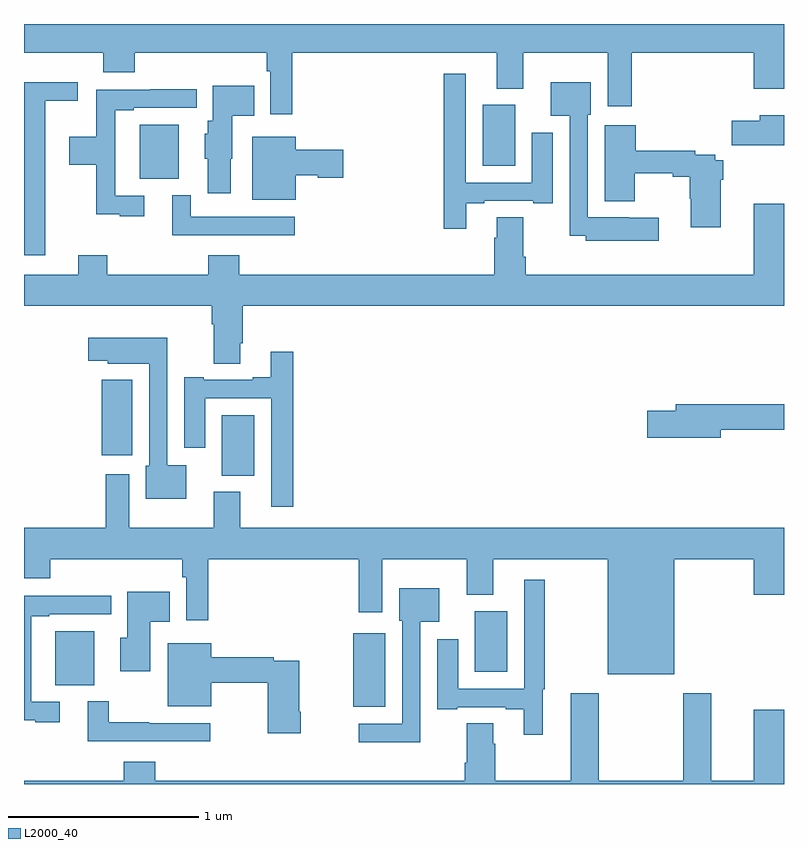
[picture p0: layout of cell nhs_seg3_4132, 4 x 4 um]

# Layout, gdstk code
import gdstk
lib = gdstk.Library(unit=1e-6, precision=1e-09)
def R(c, l, rs):  # rectangles x0, y0, x1, y1
    for r in rs: c.add(gdstk.rectangle(r[:2], r[2:], *l))
def P(c, l, *ps):  # polygons
    for p in ps: c.add(gdstk.Polygon(p, *l))
L2000_40 = (2000, 40)

nhs_seg3_4132 = lib.new_cell('nhs_seg3_4132')
R(nhs_seg3_4132, L2000_40, [(330.734,698.807,330.901,699.193), (329.165,698.921,329.371,699.205), (331.373,698.99,331.543,699.31), (330.041,700.022,330.211,700.342), (329.408,700.131,329.569,700.528), (329.609,701.585,329.815,701.869), (331.415,701.654,331.585,701.974)])
P(nhs_seg3_4132, L2000_40, [(330.413,702.248),(331.487,702.248),(331.487,702.059),(331.627,702.059),(331.627,702.248),(332.072,702.248),(332.072,701.967),(332.198,701.967),(332.198,702.248),(332.84,702.248),(332.84,702.06),(333,702.06),(333,702.4),(329,702.4),(329,702.248),(329.417,702.248),(329.417,702.146),(329.582,702.146),(329.582,702.248),(330.277,702.248),(330.277,702.152),(330.297,702.152),(330.297,701.925),(330.413,701.925)],
  [(331.327,701.457),(331.423,701.457),(331.423,701.469),(331.679,701.469),(331.679,701.457),(331.783,701.457),(331.783,701.827),(331.673,701.827),(331.673,701.565),(331.326,701.565),(331.326,702.139),(331.21,702.139),(331.21,701.322),(331.327,701.322)],
  [(329.113,701.996),(329.284,701.996),(329.284,702.094),(329,702.094),(329,701.184),(329.113,701.184)],
  [(332.341,701.38),(332.184,701.38),(332.184,701.382),(331.968,701.382),(331.968,701.922),(331.984,701.922),(331.984,702.094),(331.772,702.094),(331.772,701.918),(331.872,701.918),(331.872,701.285),(331.956,701.285),(331.956,701.258),(332.341,701.258)],
  [(330.088,701.691),(330.097,701.691),(330.097,701.918),(330.212,701.918),(330.212,702.076),(329.993,702.076),(329.993,701.892),(329.966,701.892),(329.966,701.823),(329.951,701.823),(329.951,701.691),(329.966,701.691),(329.966,701.508),(330.088,701.508)],
  [(329.632,701.496),(329.481,701.496),(329.481,701.946),(329.578,701.946),(329.578,701.958),(329.908,701.958),(329.908,702.056),(329.665,702.056),(329.665,702.054),(329.38,702.054),(329.38,701.806),(329.238,701.806),(329.238,701.659),(329.38,701.659),(329.38,701.399),(329.504,701.399),(329.504,701.388),(329.632,701.388)],
  [(333,701.92),(332.873,701.92),(332.873,701.89),(332.724,701.89),(332.724,701.761),(333,701.761)],
  [(332.668,701.579),(332.681,701.579),(332.681,701.683),(332.638,701.683),(332.638,701.712),(332.534,701.712),(332.534,701.732),(332.219,701.732),(332.219,701.866),(332.057,701.866),(332.057,701.468),(332.214,701.468),(332.214,701.614),(332.414,701.614),(332.414,701.596),(332.503,701.596),(332.503,701.481),(332.51,701.481),(332.51,701.331),(332.668,701.331)],
  [(330.43,701.603),(330.546,701.603),(330.546,701.591),(330.679,701.591),(330.679,701.738),(330.43,701.738),(330.43,701.806),(330.2,701.806),(330.2,701.474),(330.43,701.474)],
  [(330.424,701.385),(329.877,701.385),(329.877,701.5),(329.78,701.5),(329.78,701.289),(330.424,701.289)],
  [(330.139,700.72),(330.152,700.72),(330.152,700.916),(333,700.916),(333,701.455),(332.84,701.455),(332.84,701.08),(331.64,701.08),(331.64,701.176),(331.627,701.176),(331.627,701.384),(331.487,701.384),(331.487,701.276),(331.475,701.276),(331.475,701.08),(330.134,701.08),(330.134,701.182),(329.969,701.182),(329.969,701.08),(329.438,701.08),(329.438,701.182),(329.285,701.182),(329.285,701.08),(329,701.08),(329,700.916),(329.987,700.916),(329.987,700.82),(329.999,700.82),(329.999,700.612),(330.139,700.612)],
  [(329.854,700.078),(329.754,700.078),(329.754,700.75),(329.337,700.75),(329.337,700.628),(329.442,700.628),(329.442,700.613),(329.658,700.613),(329.658,700.074),(329.642,700.074),(329.642,699.902),(329.854,699.902)],
  [(330.416,700.675),(330.299,700.675),(330.299,700.54),(330.203,700.54),(330.203,700.527),(329.947,700.527),(329.947,700.54),(329.843,700.54),(329.843,700.17),(329.953,700.17),(329.953,700.431),(330.3,700.431),(330.3,699.858),(330.416,699.858)],
  [(332.668,700.264),(333,700.264),(333,700.4),(332.429,700.4),(332.429,700.364),(332.28,700.364),(332.28,700.222),(332.668,700.222)],
  [(330.139,699.937),(329.999,699.937),(329.999,699.748),(329.554,699.748),(329.554,700.03),(329.429,700.03),(329.429,699.748),(329,699.748),(329,699.482),(329.138,699.482),(329.138,699.584),(329.833,699.584),(329.833,699.488),(329.853,699.488),(329.853,699.261),(329.969,699.261),(329.969,699.584),(330.761,699.584),(330.761,699.303),(330.886,699.303),(330.886,699.584),(331.331,699.584),(331.331,699.395),(331.471,699.395),(331.471,699.584),(332.072,699.584),(332.072,698.978),(332.422,698.978),(332.422,699.584),(332.84,699.584),(332.84,699.396),(333,699.396),(333,699.748),(330.139,699.748)],
  [(331.729,698.898),(331.741,698.898),(331.741,699.475),(331.632,699.475),(331.632,698.901),(331.285,698.901),(331.285,699.163),(331.175,699.163),(331.175,698.793),(331.279,698.793),(331.279,698.805),(331.535,698.805),(331.535,698.793),(331.631,698.793),(331.631,698.658),(331.729,698.658)],
  [(331.086,699.254),(331.186,699.254),(331.186,699.43),(330.974,699.43),(330.974,699.258),(330.99,699.258),(330.99,698.718),(330.762,698.718),(330.762,698.621),(331.086,698.621)],
  [(329.665,699.254),(329.768,699.254),(329.768,699.412),(329.543,699.412),(329.543,699.171),(329.507,699.171),(329.507,698.993),(329.665,698.993)],
  [(329.188,698.832),(329.037,698.832),(329.037,699.282),(329.134,699.282),(329.134,699.294),(329.458,699.294),(329.458,699.392),(329.221,699.392),(329.221,699.39),(329,699.39),(329,698.735),(329.06,698.735),(329.06,698.724),(329.188,698.724)],
  [(330.456,698.779),(330.448,698.779),(330.448,699.048),(330.314,699.048),(330.314,699.068),(329.986,699.068),(329.986,699.142),(329.756,699.142),(329.756,698.81),(329.986,698.81),(329.986,698.932),(330.283,698.932),(330.283,698.667),(330.456,698.667)],
  [(333,698.791),(332.84,698.791),(332.84,698.416),(332.617,698.416),(332.617,698.878),(332.47,698.878),(332.47,698.416),(332.025,698.416),(332.025,698.878),(331.877,698.878),(331.877,698.416),(331.479,698.416),(331.479,698.612),(331.471,698.612),(331.471,698.72),(331.331,698.72),(331.331,698.512),(331.319,698.512),(331.319,698.416),(329.69,698.416),(329.69,698.518),(329.525,698.518),(329.525,698.416),(329,698.416),(329,698.4),(333,698.4)],
  [(329.98,698.721),(329.66,698.721),(329.66,698.726),(329.446,698.726),(329.446,698.836),(329.336,698.836),(329.336,698.625),(329.98,698.625)])

lib.write_gds('nhs_seg3_4132.gds')
